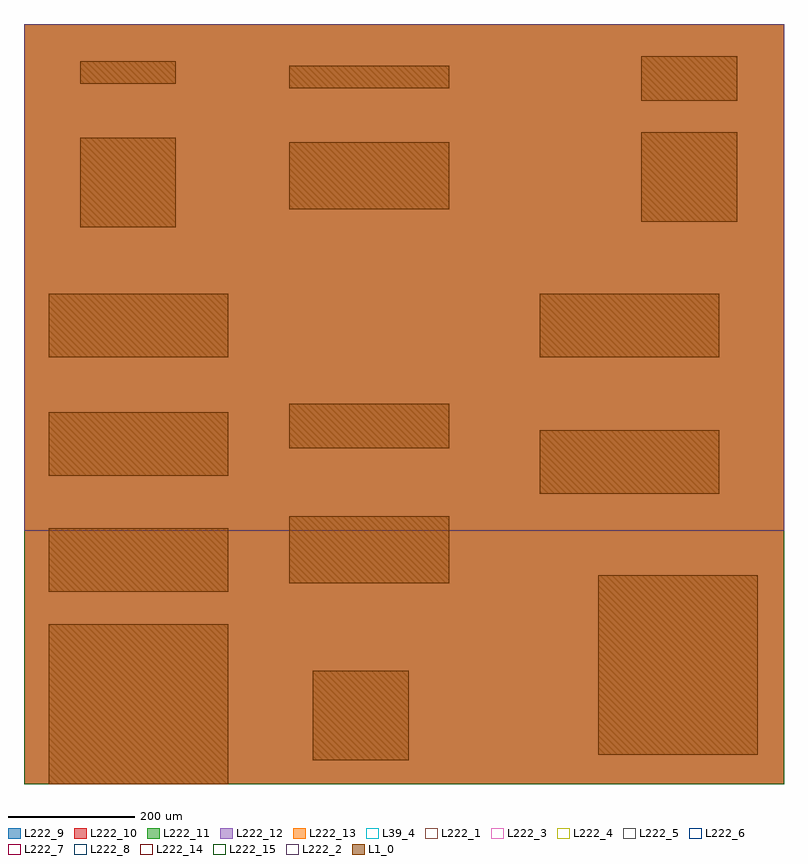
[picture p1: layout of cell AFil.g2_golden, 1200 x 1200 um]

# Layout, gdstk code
import gdstk
lib = gdstk.Library(unit=1e-6, precision=1e-09)
def R(c, l, rs):  # rectangles x0, y0, x1, y1
    for r in rs: c.add(gdstk.rectangle(r[:2], r[2:], *l))
def A(c, l, x, y, w, h, nx, ny, dx, dy):  # array of equal rectangles
    R(c, l, [(x+i*dx, y+j*dy, x+i*dx+w, y+j*dy+h) for i in range(nx) for j in range(ny)])
L1_0 = (1, 0)
L39_4 = (39, 4)
L222_1 = (222, 1)
L222_2 = (222, 2)
L222_3 = (222, 3)
L222_4 = (222, 4)
L222_5 = (222, 5)
L222_6 = (222, 6)
L222_7 = (222, 7)
L222_8 = (222, 8)
L222_9 = (222, 9)
L222_10 = (222, 10)
L222_11 = (222, 11)
L222_12 = (222, 12)
L222_13 = (222, 13)
L222_14 = (222, 14)
L222_15 = (222, 15)

afil_g2_golden = lib.new_cell('AFil.g2_golden')
A(afil_g2_golden, L1_0, 39.38, 0, 35, 50, 8, 5, 35.5, 50.5)
A(afil_g2_golden, L1_0, 456.17, 37.335, 50, 35, 3, 4, 50.5, 35.5)
A(afil_g2_golden, L1_0, 906.695, 46.18, 50, 35, 5, 8, 50.5, 35.5)
A(afil_g2_golden, L1_0, 39.38, 303.45, 35, 50, 8, 2, 35.5, 50.5)
A(afil_g2_golden, L1_0, 419.065, 317.14, 50, 35, 5, 3, 50.5, 35.5)
A(afil_g2_golden, L1_0, 814.46, 458.175, 35, 50, 8, 2, 35.5, 50.5)
A(afil_g2_golden, L1_0, 39.38, 486.755, 35, 50, 8, 2, 35.5, 50.5)
A(afil_g2_golden, L1_0, 419.065, 530.14, 50, 35, 5, 2, 50.5, 35.5)
A(afil_g2_golden, L1_0, 39.38, 673.44, 35, 50, 8, 2, 35.5, 50.5)
A(afil_g2_golden, L1_0, 814.46, 673.44, 35, 50, 8, 2, 35.5, 50.5)
A(afil_g2_golden, L1_0, 88.995, 879.115, 50, 35, 3, 4, 50.5, 35.5)
A(afil_g2_golden, L1_0, 974.875, 887.55, 50, 35, 3, 4, 50.5, 35.5)
A(afil_g2_golden, L1_0, 419.065, 907.56, 50, 35, 5, 3, 50.5, 35.5)
A(afil_g2_golden, L1_0, 974.875, 1078.87, 50, 35, 3, 2, 50.5, 35.5)
A(afil_g2_golden, L1_0, 419.065, 1098.88, 50, 35, 5, 1, 50.5, 0)
A(afil_g2_golden, L1_0, 88.995, 1105.935, 50, 35, 3, 1, 50.5, 0)
R(afil_g2_golden, L39_4, [(0,0,1200,1200)])
R(afil_g2_golden, L222_1, [(0,0,1200,1200)])
R(afil_g2_golden, L222_2, [(0,400,800,1200), (400,400,1200,1200)])
R(afil_g2_golden, L222_3, [(0,0,1200,1200)])
R(afil_g2_golden, L222_4, [(0,0,1200,1200)])
R(afil_g2_golden, L222_5, [(0,0,1200,1200)])
R(afil_g2_golden, L222_6, [(0,0,1200,1200)])
R(afil_g2_golden, L222_7, [(0,0,1200,1200)])
R(afil_g2_golden, L222_8, [(0,0,1200,1200)])
R(afil_g2_golden, L222_9, [(0,0,800,800), (400,0,1200,800), (0,400,800,1200), (400,400,1200,1200)])
R(afil_g2_golden, L222_10, [(0,0,800,800), (400,0,1200,800), (0,400,800,1200), (400,400,1200,1200)])
R(afil_g2_golden, L222_11, [(0,0,800,800), (400,0,1200,800), (0,400,800,1200), (400,400,1200,1200)])
R(afil_g2_golden, L222_12, [(0,0,800,800), (400,0,1200,800), (0,400,800,1200), (400,400,1200,1200)])
R(afil_g2_golden, L222_13, [(0,0,800,800), (400,0,1200,800), (0,400,800,1200), (400,400,1200,1200)])
R(afil_g2_golden, L222_14, [(0,0,1200,1200)])
R(afil_g2_golden, L222_15, [(0,0,1200,1200)])

lib.write_gds('AFil.g2_golden.gds')
